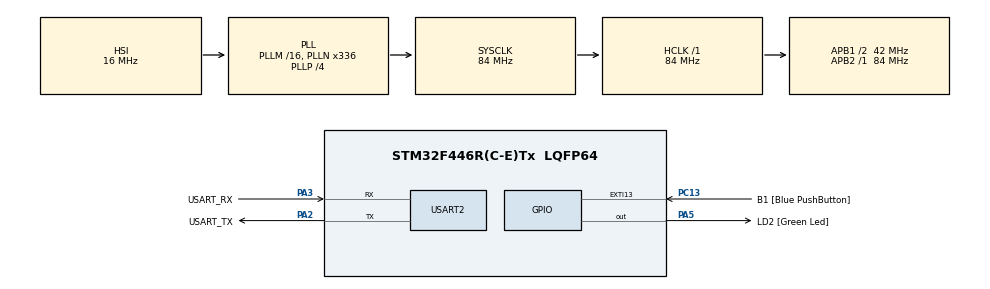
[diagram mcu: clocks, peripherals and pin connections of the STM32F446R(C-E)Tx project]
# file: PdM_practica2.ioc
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Mcu.Family=STM32F4
Mcu.Name=STM32F446R(C-E)Tx
Mcu.Package=LQFP64
NVIC.EXTI15_10_IRQn=true\:0\:1\:true\:false\:true\:true\:true\:true
NVIC.PriorityGroup=NVIC_PRIORITYGROUP_0
PA13.GPIO_Label=TMS
PA13.Mode=Serial_Wire
PA13.Signal=SYS_JTMS-SWDIO
PA14.GPIO_Label=TCK
PA14.Mode=Serial_Wire
PA14.Signal=SYS_JTCK-SWCLK
PA2.GPIO_Label=USART_TX
PA2.Mode=Asynchronous
PA2.Signal=USART2_TX
PA3.GPIO_Label=USART_RX
PA3.Mode=Asynchronous
PA3.Signal=USART2_RX
PA5.GPIO_Label=LD2 [Green Led]
PA5.Signal=GPIO_Output
PB3.GPIO_Label=SWO
PB3.Signal=SYS_JTDO-SWO
PC13.GPIO_Label=B1 [Blue PushButton]
PC13.GPIO_ModeDefaultEXTI=GPIO_MODE_IT_FALLING
PC13.Signal=GPXTI13
PC14-OSC32_IN.Mode=LSE-External-Oscillator
PC14-OSC32_IN.Signal=RCC_OSC32_IN
PC15-OSC32_OUT.Mode=LSE-External-Oscillator
PC15-OSC32_OUT.Signal=RCC_OSC32_OUT
PH0-OSC_IN.Mode=HSE-External-Oscillator
PH0-OSC_IN.Signal=RCC_OSC_IN
PH1-OSC_OUT.Mode=HSE-External-Oscillator
PH1-OSC_OUT.Signal=RCC_OSC_OUT
ProjectManager.HeapSize=0x200
ProjectManager.StackSize=0x400
ProjectManager.TargetToolchain=STM32CubeIDE
RCC.48MHZClocksFreq_Value=84000000
RCC.AHBFreq_Value=84000000
RCC.APB1CLKDivider=RCC_HCLK_DIV2
RCC.APB1Freq_Value=42000000
RCC.APB1TimFreq_Value=84000000
RCC.APB2Freq_Value=84000000
RCC.APB2TimFreq_Value=84000000
RCC.CortexFreq_Value=84000000
RCC.FLatency-AdvancedSettings=FLASH_LATENCY_2
RCC.HCLKFreq_Value=84000000
RCC.HSE_VALUE=8000000
RCC.HSI_VALUE=16000000
RCC.PLLN=336
RCC.PLLP=RCC_PLLP_DIV4
RCC.SYSCLKFreq_VALUE=84000000
RCC.SYSCLKSource=RCC_SYSCLKSOURCE_PLLCLK
RCC.USBFreq_Value=168000000
RCC.VCOOutputFreq_Value=336000000
USART2.VirtualMode=VM_ASYNC
board=NUCLEO-F446RE

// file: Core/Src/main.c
/* USER CODE BEGIN Header */
/**
  ******************************************************************************
  * @file           : main.c
  * @brief          : Main program body
  ******************************************************************************
  * @attention
  *
  * Copyright (c) 2025 STMicroelectronics.
  * All rights reserved.
  *
  * This software is licensed under terms that can be found in the LICENSE file
  * in the root directory of this software component.
  * If no LICENSE file comes with this software, it is provided AS-IS.
  *
  ******************************************************************************
  */
/* USER CODE END Header */
#include "main.h"

UART_HandleTypeDef huart2;

/* USER CODE BEGIN PV */
void delayInit( delay_t * delay, tick_t duration ){
	delay->duration = duration;
	delay->running = false;
	return;
}
bool_t delayRead( delay_t * delay ){
	if(!delay->running){
		delay->startTime = HAL_GetTick();
		delay->running = true;
	} else {
		if( (HAL_GetTick() - delay->startTime) >= delay->duration ){
			delay->running = false;
			return true;
		}
	}
	return false;
}
void delayWrite( delay_t * delay, tick_t duration ){
	delay->duration = duration;
}

void counterInit(uint8_t * counter, uint8_t limit){
	*counter = limit;
}

bool_t counterDown(uint8_t * counter){
	if(!(--(*counter))){
		return true;
	}
	return false;
}

/* USER CODE END PV */

void SystemClock_Config(void);
static void MX_GPIO_Init(void);
static void MX_USART2_UART_Init(void);

int main(void)
{

  /* MCU Configuration--------------------------------------------------------*/

  /* Reset of all peripherals, Initializes the Flash interface and the Systick. */
  HAL_Init();

  /* Configure the system clock */
  SystemClock_Config();

  /* Initialize all configured peripherals */
  MX_GPIO_Init();
  MX_USART2_UART_Init();
  /* USER CODE BEGIN 2 */
  delay_t my_delay;
  uint8_t my_counter;
  const uint8_t BLINK_PER_DELAY = 10; // cantidad de parpadeos por valor de delay x2 (led on/led off)
  const uint8_t NUM_DELAY = 3; //cantidad de valores de delay en el array

  tick_t duracion[] = {1000, 200, 100};
  uint8_t indice_delay = 0;
  delayInit(&my_delay, duracion[indice_delay]);
  counterInit(&my_counter, BLINK_PER_DELAY);

  /* USER CODE END 2 */

  /* Infinite loop */
  while (1)
  {

    /* USER CODE BEGIN 3 */
	  if(delayRead(&my_delay)){ // si se cumplio el delay, toggle y reiniciar el delay
		  HAL_GPIO_TogglePin(LD2_GPIO_Port, LD2_Pin);

		  if(counterDown(&my_counter)){ // si el contador termino, muevo el indice de valores de delay y lo reinicio
			  indice_delay = (indice_delay + 1) % NUM_DELAY;
			  counterInit(&my_counter, BLINK_PER_DELAY);
		  }
		  delayInit(&my_delay, duracion[indice_delay]);
	  }
  }
  /* USER CODE END 3 */
}

void SystemClock_Config(void)
{
  RCC_OscInitTypeDef RCC_OscInitStruct = {0};
  RCC_ClkInitTypeDef RCC_ClkInitStruct = {0};

  /** Configure the main internal regulator output voltage
  */
  __HAL_RCC_PWR_CLK_ENABLE();
  __HAL_PWR_VOLTAGESCALING_CONFIG(PWR_REGULATOR_VOLTAGE_SCALE3);

  /** Initializes the RCC Oscillators according to the specified parameters
  * in the RCC_OscInitTypeDef structure.
  */
  RCC_OscInitStruct.OscillatorType = RCC_OSCILLATORTYPE_HSI;
  RCC_OscInitStruct.HSIState = RCC_HSI_ON;
  RCC_OscInitStruct.HSICalibrationValue = RCC_HSICALIBRATION_DEFAULT;
  RCC_OscInitStruct.PLL.PLLState = RCC_PLL_ON;
  RCC_OscInitStruct.PLL.PLLSource = RCC_PLLSOURCE_HSI;
  RCC_OscInitStruct.PLL.PLLM = 16;
  RCC_OscInitStruct.PLL.PLLN = 336;
  RCC_OscInitStruct.PLL.PLLP = RCC_PLLP_DIV4;
  RCC_OscInitStruct.PLL.PLLQ = 2;
  RCC_OscInitStruct.PLL.PLLR = 2;
  if (HAL_RCC_OscConfig(&RCC_OscInitStruct) != HAL_OK)
  {
    Error_Handler();
  }

  /** Initializes the CPU, AHB and APB buses clocks
  */
  RCC_ClkInitStruct.ClockType = RCC_CLOCKTYPE_HCLK|RCC_CLOCKTYPE_SYSCLK
                              |RCC_CLOCKTYPE_PCLK1|RCC_CLOCKTYPE_PCLK2;
  RCC_ClkInitStruct.SYSCLKSource = RCC_SYSCLKSOURCE_PLLCLK;
  RCC_ClkInitStruct.AHBCLKDivider = RCC_SYSCLK_DIV1;
  RCC_ClkInitStruct.APB1CLKDivider = RCC_HCLK_DIV2;
  RCC_ClkInitStruct.APB2CLKDivider = RCC_HCLK_DIV1;

  if (HAL_RCC_ClockConfig(&RCC_ClkInitStruct, FLASH_LATENCY_2) != HAL_OK)
  {
    Error_Handler();
  }
}

static void MX_USART2_UART_Init(void)
{

  huart2.Instance = USART2;
  huart2.Init.BaudRate = 115200;
  huart2.Init.WordLength = UART_WORDLENGTH_8B;
  huart2.Init.StopBits = UART_STOPBITS_1;
  huart2.Init.Parity = UART_PARITY_NONE;
  huart2.Init.Mode = UART_MODE_TX_RX;
  huart2.Init.HwFlowCtl = UART_HWCONTROL_NONE;
  huart2.Init.OverSampling = UART_OVERSAMPLING_16;
  if (HAL_UART_Init(&huart2) != HAL_OK)
  {
    Error_Handler();
  }

}

static void MX_GPIO_Init(void)
{
  GPIO_InitTypeDef GPIO_InitStruct = {0};

  /* GPIO Ports Clock Enable */
  __HAL_RCC_GPIOC_CLK_ENABLE();
  __HAL_RCC_GPIOH_CLK_ENABLE();
  __HAL_RCC_GPIOA_CLK_ENABLE();
  __HAL_RCC_GPIOB_CLK_ENABLE();

  /*Configure GPIO pin Output Level */
  HAL_GPIO_WritePin(LD2_GPIO_Port, LD2_Pin, GPIO_PIN_RESET);

  /*Configure GPIO pin : B1_Pin */
  GPIO_InitStruct.Pin = B1_Pin;
  GPIO_InitStruct.Mode = GPIO_MODE_IT_FALLING;
  GPIO_InitStruct.Pull = GPIO_NOPULL;
  HAL_GPIO_Init(B1_GPIO_Port, &GPIO_InitStruct);

  /*Configure GPIO pin : LD2_Pin */
  GPIO_InitStruct.Pin = LD2_Pin;
  GPIO_InitStruct.Mode = GPIO_MODE_OUTPUT_PP;
  GPIO_InitStruct.Pull = GPIO_NOPULL;
  GPIO_InitStruct.Speed = GPIO_SPEED_FREQ_LOW;
  HAL_GPIO_Init(LD2_GPIO_Port, &GPIO_InitStruct);

  /* EXTI interrupt init*/
  HAL_NVIC_SetPriority(EXTI15_10_IRQn, 0, 1);
  HAL_NVIC_EnableIRQ(EXTI15_10_IRQn);

}

void Error_Handler(void)
{
  __disable_irq();
  while (1)
  {
  }
}
